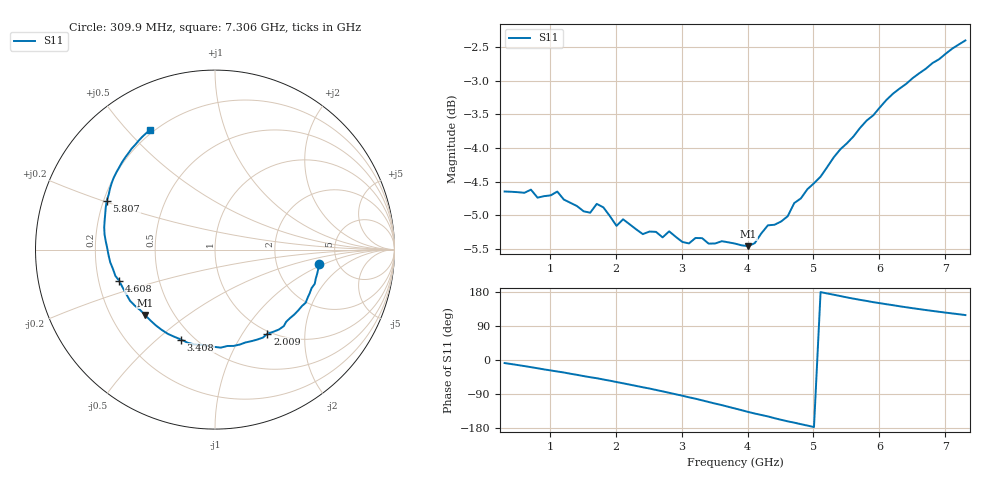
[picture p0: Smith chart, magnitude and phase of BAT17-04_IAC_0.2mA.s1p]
! Infineon Technologies  Discrete & RF Semiconductors
! BAT17-04
! IAC = 0.2 mA
! One-Port S-Parameters
# Hz  S  MA  R  50
!f  S11
!Hz  Mag  Ang
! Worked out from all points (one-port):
!   71 points, 309.9 MHz to 7.306 GHz, reference 50 ohm
!   lowest |S11| = -5.5 dB at 4.008 GHz (marker M1), VSWR 3.29, Z = 17.3 - j17.6 ohm
!   |S11| at or under -10 dB: nowhere
!   S11 on the Smith chart (normalised r, x): 309.9 MHz: 3.58, -0.90; 2.009 GHz: 0.96, -1.30; 3.408 GHz: 0.43, -0.60; 4.608 GHz: 0.29, -0.15; 5.807 GHz: 0.21, +0.20; 7.306 GHz: 0.18, +0.58
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3.0985e8  0.5856 -8.1
7.0965e8  0.5874 -18.9
8.096e8  0.5795 -21.8
1.10945e9  0.5856 -30.3
1.2094e9  0.5776 -33.0
1.6092e9  0.5647 -45.4
1.70915e9  0.5733 -48.0
2.009e9  0.5522 -58.1
2.10895e9  0.5584 -61.4
2.6087e9  0.5466 -79.0
2.8086e9  0.5471 -86.6
3.0085e9  0.5372 -94.2
3.2084e9  0.5409 -102.2
3.4083e9  0.5357 -110.8
3.6082e9  0.5379 -119.1
3.8081e9  0.5357 -128.0
4.008e9  0.5333 -137.0
4.30785e9  0.5527 -148.9
4.6077e9  0.5613 -161.9
4.70765e9  0.5741 -165.3
4.90755e9  0.5879 -173.0
5.30735e9  0.6209 172.3
5.6072e9  0.6434 161.9
5.8071e9  0.6611 155.8
6.2069e9  0.6922 144.6
6.50675e9  0.7109 136.7
6.8066e9  0.7294 129.6
7.30635e9  0.7582 118.5
